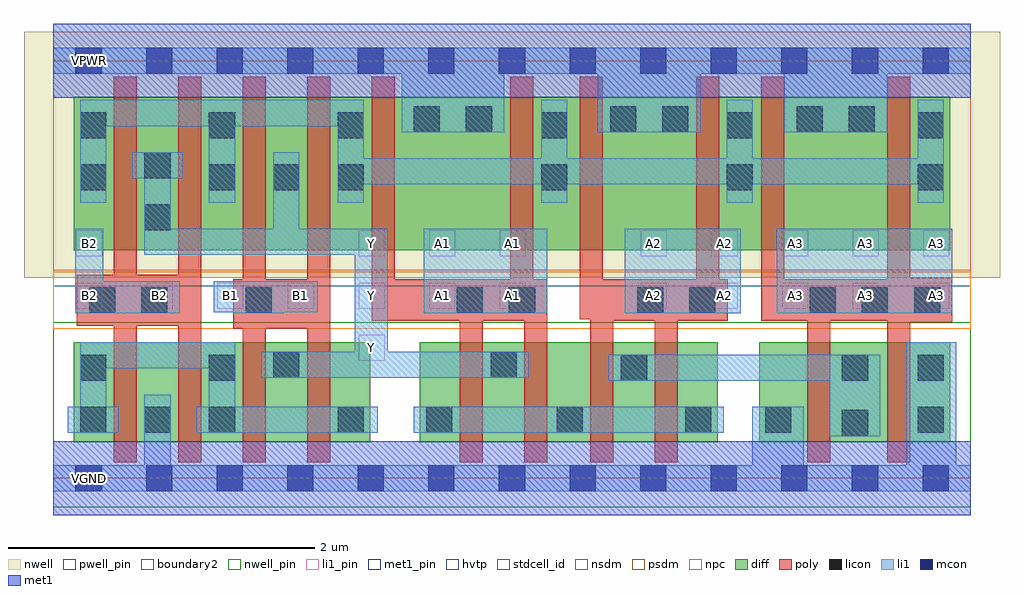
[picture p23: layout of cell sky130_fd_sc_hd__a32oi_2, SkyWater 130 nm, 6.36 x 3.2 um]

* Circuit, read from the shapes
.subckt sky130_fd_sc_hd__a32oi_2 A1 A2 A3 B1 B2 VGND VNB VPB VPWR Y
XM1 VGND B2 n1 VNB sky130_fd_pr__nfet_01v8 w=0.65 l=0.15 m=2
XM2 Y B1 n1 VNB sky130_fd_pr__nfet_01v8 w=0.65 l=0.15 m=2
XM3 Y A1 n2 VNB sky130_fd_pr__nfet_01v8 w=0.65 l=0.15 m=2
XM4 n3 A2 n2 VNB sky130_fd_pr__nfet_01v8 w=0.65 l=0.15 m=2
XM5 n3 A3 VGND VNB sky130_fd_pr__nfet_01v8 w=0.65 l=0.15 m=2
XM6 Y B2 n4 VPB sky130_fd_pr__pfet_01v8_hvt w=1 l=0.15 m=2
XM7 Y B1 n4 VPB sky130_fd_pr__pfet_01v8_hvt w=1 l=0.15 m=2
XM8 VPWR A1 n4 VPB sky130_fd_pr__pfet_01v8_hvt w=1 l=0.15 m=2
XM9 VPWR A2 n4 VPB sky130_fd_pr__pfet_01v8_hvt w=1 l=0.15 m=2
XM10 VPWR A3 n4 VPB sky130_fd_pr__pfet_01v8_hvt w=1 l=0.15 m=2
.ends

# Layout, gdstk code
import gdstk
lib = gdstk.Library(unit=1e-6, precision=1e-09)
def R(c, l, rs):  # rectangles x0, y0, x1, y1
    for r in rs: c.add(gdstk.rectangle(r[:2], r[2:], *l))
def A(c, l, x, y, w, h, nx, ny, dx, dy):  # array of equal rectangles
    R(c, l, [(x+i*dx, y+j*dy, x+i*dx+w, y+j*dy+h) for i in range(nx) for j in range(ny)])
def P(c, l, *ps):  # polygons
    for p in ps: c.add(gdstk.Polygon(p, *l))
nwell_pin = (64, 16)
nwell = (64, 20)
diff = (65, 20)
poly = (66, 20)
licon = (66, 44)
li1_pin = (67, 16)
li1 = (67, 20)
mcon = (67, 44)
met1_pin = (68, 16)
met1 = (68, 20)
hvtp = (78, 44)
stdcell_id = (81, 4)
nsdm = (93, 44)
psdm = (94, 20)
npc = (95, 20)
pwell_pin = (122, 16)
boundary2 = (236, 0)

sky130_fd_sc_hd__a32oi_2 = lib.new_cell('sky130_fd_sc_hd__a32oi_2')
R(sky130_fd_sc_hd__a32oi_2, nwell_pin, [(0.15,2.635,0.32,2.805)])
R(sky130_fd_sc_hd__a32oi_2, nwell, [(-0.19,1.305,6.17,2.91)])
R(sky130_fd_sc_hd__a32oi_2, diff, [(0.135,0.235,2.065,0.885), (2.39,0.235,4.33,0.885), (4.6,0.235,5.845,0.885), (0.135,1.485,5.845,2.485)])
P(sky130_fd_sc_hd__a32oi_2, poly, [(4.915,0.105),(4.915,1.025),(4.615,1.025),(4.615,2.615),(4.765,2.615),(4.765,1.295),(5.435,1.295),(5.435,2.615),(5.585,2.615),(5.585,1.305),(5.86,1.305),(5.86,1.015),(5.585,1.015),(5.585,0.105),(5.435,0.105),(5.435,1.025),(5.065,1.025),(5.065,0.105)],
  [(3.5,0.105),(3.5,1.035),(3.43,1.035),(3.43,2.615),(3.58,2.615),(3.58,1.295),(4.19,1.295),(4.19,2.615),(4.34,2.615),(4.34,1.295),(4.395,1.295),(4.395,1.025),(4.07,1.025),(4.07,0.105),(3.92,0.105),(3.92,1.025),(3.65,1.025),(3.65,0.105)],
  [(2.65,0.105),(2.65,1.025),(2.075,1.025),(2.075,2.615),(2.225,2.615),(2.225,1.295),(2.98,1.295),(2.98,2.615),(3.13,2.615),(3.13,1.295),(3.22,1.295),(3.22,0.105),(3.07,0.105),(3.07,1.025),(2.8,1.025),(2.8,0.105)],
  [(1.235,0.105),(1.235,0.975),(1.175,0.975),(1.175,1.295),(1.235,1.295),(1.235,2.615),(1.385,2.615),(1.385,1.295),(1.655,1.295),(1.655,2.615),(1.805,2.615),(1.805,0.105),(1.655,0.105),(1.655,0.975),(1.385,0.975),(1.385,0.105)],
  [(0.395,0.105),(0.395,0.995),(0.155,0.995),(0.155,1.325),(0.395,1.325),(0.395,2.615),(0.545,2.615),(0.545,1.325),(0.815,1.325),(0.815,2.615),(0.965,2.615),(0.965,0.105),(0.815,0.105),(0.815,0.995),(0.545,0.995),(0.545,0.105)])
A(sky130_fd_sc_hd__a32oi_2, licon, 0.175, 0.295, 0.17, 0.17, 3, 1, 0.42, 0)
A(sky130_fd_sc_hd__a32oi_2, licon, 4.93, 1.075, 0.17, 0.17, 3, 1, 0.34, 0)
A(sky130_fd_sc_hd__a32oi_2, licon, 1.015, 1.875, 0.17, 0.17, 3, 1, 0.42, 0)
A(sky130_fd_sc_hd__a32oi_2, licon, 0.175, 2.215, 0.17, 0.17, 3, 1, 0.84, 0)
R(sky130_fd_sc_hd__a32oi_2, licon, [(5.14,0.275,5.31,0.445), (1.855,0.295,2.025,0.465), (2.43,0.295,2.6,0.465), (3.28,0.295,3.45,0.465), (4.12,0.295,4.29,0.465), (4.64,0.295,4.81,0.465), (5.635,0.295,5.805,0.465), (0.175,0.635,0.345,0.805), (1.015,0.635,1.185,0.805), (3.7,0.635,3.87,0.805), (5.14,0.635,5.31,0.805), (5.635,0.635,5.805,0.805), (1.435,0.655,1.605,0.825), (2.85,0.655,3.02,0.825), (0.235,1.075,0.405,1.245), (0.575,1.075,0.745,1.245), (1.255,1.075,1.425,1.245), (2.63,1.075,2.8,1.245), (2.97,1.075,3.14,1.245), (3.805,1.075,3.975,1.245), (4.145,1.075,4.315,1.245), (0.595,1.615,0.765,1.785), (0.175,1.875,0.345,2.045), (3.18,1.875,3.35,2.045), (4.39,1.875,4.56,2.045), (5.635,1.875,5.805,2.045), (0.595,1.955,0.765,2.125), (3.18,2.215,3.35,2.385), (4.39,2.215,4.56,2.385), (5.635,2.215,5.805,2.385), (2.35,2.255,2.52,2.425), (2.69,2.255,2.86,2.425), (3.63,2.255,3.8,2.425), (3.97,2.255,4.14,2.425), (4.845,2.255,5.015,2.425), (5.185,2.255,5.355,2.425)])
A(sky130_fd_sc_hd__a32oi_2, li1_pin, 0.15, 1.105, 0.17, 0.17, 7, 1, 0.46, 0)
A(sky130_fd_sc_hd__a32oi_2, li1_pin, 3.83, 1.105, 0.17, 0.17, 5, 2, 0.46, 0.34)
A(sky130_fd_sc_hd__a32oi_2, li1_pin, 1.99, 1.445, 0.17, 0.17, 3, 1, 0.46, 0)
R(sky130_fd_sc_hd__a32oi_2, li1_pin, [(1.99,0.765,2.16,0.935), (0.15,1.445,0.32,1.615)])
R(sky130_fd_sc_hd__a32oi_2, li1, [(2.35,0.295,4.37,0.465), (2.415,1.075,3.22,1.625), (3.725,1.075,4.48,1.625), (4.715,1.075,5.86,1.625)])
P(sky130_fd_sc_hd__a32oi_2, li1, [(0.175,1.795),(0.175,2.465),(2.025,2.465),(2.025,2.085),(3.18,2.085),(3.18,2.465),(3.35,2.465),(3.35,2.085),(4.39,2.085),(4.39,2.465),(4.56,2.465),(4.56,2.085),(5.635,2.085),(5.635,2.465),(5.805,2.465),(5.805,1.795),(5.635,1.795),(5.635,1.915),(4.56,1.915),(4.56,1.795),(4.39,1.795),(4.39,1.915),(3.35,1.915),(3.35,1.795),(3.18,1.795),(3.18,1.915),(2.025,1.915),(2.025,1.795),(1.855,1.795),(1.855,2.295),(1.185,2.295),(1.185,1.795),(1.015,1.795),(1.015,2.295),(0.345,2.295),(0.345,1.795)],
  [(1.175,1.075),(1.175,1.08),(1.045,1.08),(1.045,1.285),(1.725,1.285),(1.725,1.08),(1.505,1.08),(1.505,1.075)],
  [(1.355,0.655),(1.355,0.825),(1.965,0.825),(1.965,1.455),(0.595,1.455),(0.595,1.955),(0.515,1.955),(0.515,2.125),(0.845,2.125),(0.845,1.955),(0.765,1.955),(0.765,1.625),(1.435,1.625),(1.435,2.125),(1.605,2.125),(1.605,1.625),(2.18,1.625),(2.18,0.825),(3.1,0.825),(3.1,0.655)],
  [(0.095,0.295),(0.095,0.465),(0.175,0.465),(0.175,0.885),(1.185,0.885),(1.185,0.465),(2.115,0.465),(2.115,0.295),(0.935,0.295),(0.935,0.465),(1.015,0.465),(1.015,0.715),(0.345,0.715),(0.345,0.465),(0.425,0.465),(0.425,0.295)],
  [(0.145,1.075),(0.145,1.625),(0.325,1.625),(0.325,1.285),(0.825,1.285),(0.825,1.075)],
  [(5.06,0.275),(5.06,0.635),(3.62,0.635),(3.62,0.805),(5.39,0.805),(5.39,0.275)],
  [(2.27,2.255),(2.27,2.635),(0,2.635),(0,2.805),(5.98,2.805),(5.98,2.635),(5.435,2.635),(5.435,2.255),(4.765,2.255),(4.765,2.635),(4.22,2.635),(4.22,2.255),(3.55,2.255),(3.55,2.635),(2.94,2.635),(2.94,2.255)],
  [(0,-0.085),(0,0.085),(0.595,0.085),(0.595,0.545),(0.765,0.545),(0.765,0.085),(4.555,0.085),(4.555,0.465),(4.89,0.465),(4.89,0.085),(5.56,0.085),(5.56,0.885),(5.885,0.885),(5.885,0.085),(5.98,0.085),(5.98,-0.085)])
A(sky130_fd_sc_hd__a32oi_2, mcon, 0.145, -0.085, 0.17, 0.17, 13, 2, 0.46, 2.72)
R(sky130_fd_sc_hd__a32oi_2, met1_pin, [(0.15,-0.085,0.32,0.085), (0.15,2.635,0.32,2.805)])
R(sky130_fd_sc_hd__a32oi_2, hvtp, [(0,1.25,5.98,2.72)])
R(sky130_fd_sc_hd__a32oi_2, stdcell_id, [(0,0,5.98,2.72)])
R(sky130_fd_sc_hd__a32oi_2, nsdm, [(0,-0.19,5.98,1.015)])
R(sky130_fd_sc_hd__a32oi_2, psdm, [(0,1.355,5.98,2.91)])
R(sky130_fd_sc_hd__a32oi_2, npc, [(0,0.975,5.98,1.345)])
R(sky130_fd_sc_hd__a32oi_2, pwell_pin, [(0.15,-0.085,0.32,0.085)])
R(sky130_fd_sc_hd__a32oi_2, boundary2, [(0,0,5.98,2.72)])
sky130_fd_sc_hd__a32oi_2.add(gdstk.FlexPath([(0,0),(5.98,0)], 0.48, ends="flush", simple_path=True, layer=68, datatype=20))  # met1
sky130_fd_sc_hd__a32oi_2.add(gdstk.FlexPath([(0,2.72),(5.98,2.72)], 0.48, ends="flush", simple_path=True, layer=68, datatype=20))  # met1
sky130_fd_sc_hd__a32oi_2.add(gdstk.Label('VPWR', (0.235,2.72), layer=68, texttype=5))
sky130_fd_sc_hd__a32oi_2.add(gdstk.Label('VGND', (0.235,0), layer=68, texttype=5))
sky130_fd_sc_hd__a32oi_2.add(gdstk.Label('VPB', (0.235,2.72), layer=64, texttype=5))
sky130_fd_sc_hd__a32oi_2.add(gdstk.Label('VNB', (0.235,0), layer=64, texttype=59))
sky130_fd_sc_hd__a32oi_2.add(gdstk.Label('a32oi_2', (0,0), layer=83, texttype=44))
sky130_fd_sc_hd__a32oi_2.add(gdstk.Label('B1', (1.155,1.19), layer=67, texttype=5))
sky130_fd_sc_hd__a32oi_2.add(gdstk.Label('B1', (1.615,1.19), layer=67, texttype=5))
sky130_fd_sc_hd__a32oi_2.add(gdstk.Label('Y', (2.075,0.85), layer=67, texttype=5))
sky130_fd_sc_hd__a32oi_2.add(gdstk.Label('Y', (2.075,1.19), layer=67, texttype=5))
sky130_fd_sc_hd__a32oi_2.add(gdstk.Label('Y', (2.075,1.53), layer=67, texttype=5))
sky130_fd_sc_hd__a32oi_2.add(gdstk.Label('A1', (2.535,1.19), layer=67, texttype=5))
sky130_fd_sc_hd__a32oi_2.add(gdstk.Label('A1', (2.995,1.19), layer=67, texttype=5))
sky130_fd_sc_hd__a32oi_2.add(gdstk.Label('A1', (2.535,1.53), layer=67, texttype=5))
sky130_fd_sc_hd__a32oi_2.add(gdstk.Label('A1', (2.995,1.53), layer=67, texttype=5))
sky130_fd_sc_hd__a32oi_2.add(gdstk.Label('A2', (3.915,1.19), layer=67, texttype=5))
sky130_fd_sc_hd__a32oi_2.add(gdstk.Label('A2', (4.375,1.19), layer=67, texttype=5))
sky130_fd_sc_hd__a32oi_2.add(gdstk.Label('A2', (3.915,1.53), layer=67, texttype=5))
sky130_fd_sc_hd__a32oi_2.add(gdstk.Label('A2', (4.375,1.53), layer=67, texttype=5))
sky130_fd_sc_hd__a32oi_2.add(gdstk.Label('A3', (4.835,1.19), layer=67, texttype=5))
sky130_fd_sc_hd__a32oi_2.add(gdstk.Label('A3', (5.295,1.19), layer=67, texttype=5))
sky130_fd_sc_hd__a32oi_2.add(gdstk.Label('A3', (5.755,1.19), layer=67, texttype=5))
sky130_fd_sc_hd__a32oi_2.add(gdstk.Label('A3', (4.835,1.53), layer=67, texttype=5))
sky130_fd_sc_hd__a32oi_2.add(gdstk.Label('A3', (5.295,1.53), layer=67, texttype=5))
sky130_fd_sc_hd__a32oi_2.add(gdstk.Label('A3', (5.755,1.53), layer=67, texttype=5))
sky130_fd_sc_hd__a32oi_2.add(gdstk.Label('B2', (0.235,1.19), layer=67, texttype=5))
sky130_fd_sc_hd__a32oi_2.add(gdstk.Label('B2', (0.695,1.19), layer=67, texttype=5))
sky130_fd_sc_hd__a32oi_2.add(gdstk.Label('B2', (0.235,1.53), layer=67, texttype=5))

lib.write_gds('sky130_fd_sc_hd__a32oi_2.gds')
